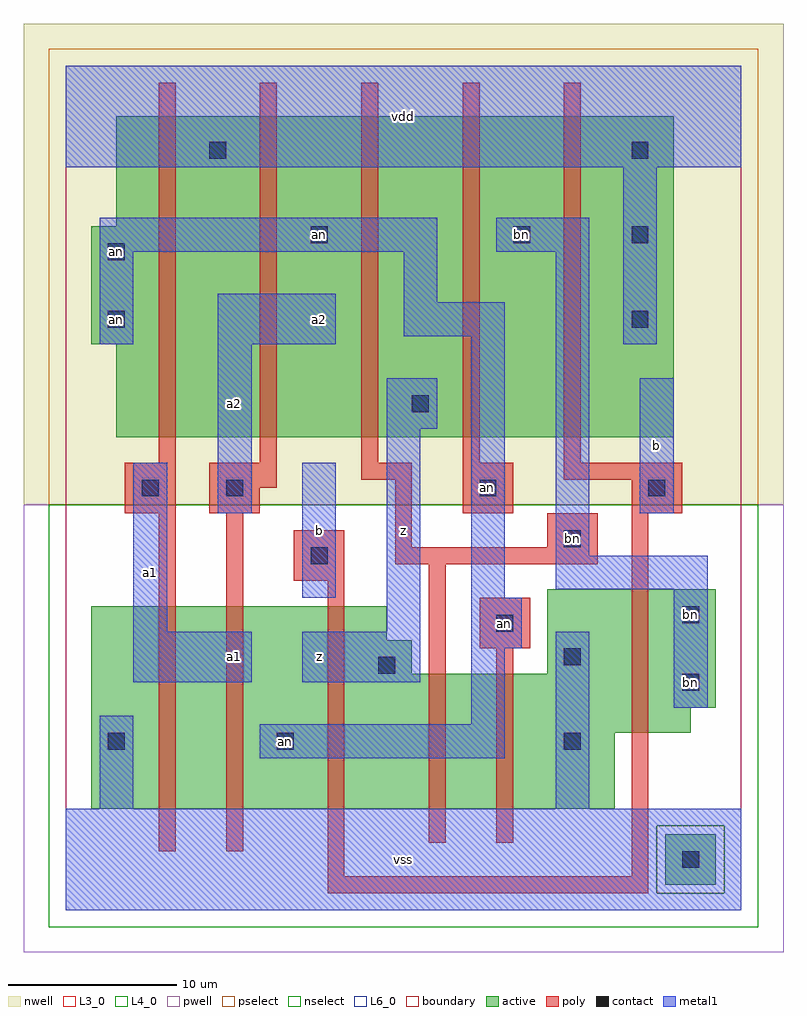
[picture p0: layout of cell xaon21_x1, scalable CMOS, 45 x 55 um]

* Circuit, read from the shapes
.subckt xaon21_x1 a1 a2 an b bn vdd vss z
M1 n1 a1 vss vss nfet w=12u l=1u
M2 an a2 n1 vss nfet w=12u l=1u
M3 z b an vss nfet w=12u l=1u
M4 n2 bn z vss nfet w=8u l=1u
M5 vss an n2 vss nfet w=8u l=1u
M6 bn b vss vss nfet w=8.5u l=1u
M7 vdd a1 an n3 pfet w=19u l=1u
M8 an a2 vdd n3 pfet w=19u l=1u
M9 z bn an n3 pfet w=19u l=1u
M10 bn an z n3 pfet w=19u l=1u
M11 vdd b bn n3 pfet w=19u l=1u
.ends

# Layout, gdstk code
import gdstk
lib = gdstk.Library(unit=1e-6, precision=1e-09)
def R(c, l, rs):  # rectangles x0, y0, x1, y1
    for r in rs: c.add(gdstk.rectangle(r[:2], r[2:], *l))
def A(c, l, x, y, w, h, nx, ny, dx, dy):  # array of equal rectangles
    R(c, l, [(x+i*dx, y+j*dy, x+i*dx+w, y+j*dy+h) for i in range(nx) for j in range(ny)])
L3_0 = (3, 0)
L4_0 = (4, 0)
L6_0 = (6, 0)
contact = (25, 0)
pwell = (41, 0)
nwell = (42, 0)
active = (43, 0)
pselect = (44, 0)
nselect = (45, 0)
poly = (46, 0)
metal1 = (49, 0)
boundary = (63, 0)

xaon21_x1 = lib.new_cell('xaon21_x1')
R(xaon21_x1, L3_0, [(1.5,6,32.5,10.5), (1.5,10.5,37,12), (1.5,12,38.5,14), (1.5,14,20.5,16), (28.5,14,38.5,19), (1.5,16,19,18)])
R(xaon21_x1, L4_0, [(3,28,36,33.5), (1.5,33.5,36,40.5), (3,40.5,36,47)])
R(xaon21_x1, L6_0, [(35.5,1.5,38.5,4.5)])
A(xaon21_x1, contact, 33.5, 34.5, 1, 1, 1, 3, 0, 5)
R(xaon21_x1, contact, [(36.5,2.5,37.5,3.5), (2.5,9.5,3.5,10.5), (12.5,9.5,13.5,10.5), (29.5,9.5,30.5,10.5), (36.5,13,37.5,14), (18.5,14,19.5,15), (29.5,14.5,30.5,15.5), (25.5,16.5,26.5,17.5), (36.5,17,37.5,18), (14.5,20.5,15.5,21.5), (29.5,21.5,30.5,22.5), (4.5,24.5,5.5,25.5), (9.5,24.5,10.5,25.5), (24.5,24.5,25.5,25.5), (34.5,24.5,35.5,25.5), (20.5,29.5,21.5,30.5), (2.5,34.5,3.5,35.5), (2.5,38.5,3.5,39.5), (14.5,39.5,15.5,40.5), (26.5,39.5,27.5,40.5), (8.5,44.5,9.5,45.5)])
R(xaon21_x1, pwell, [(-2.5,-2.5,42.5,24)])
R(xaon21_x1, nwell, [(-2.5,24,42.5,52.5)])
R(xaon21_x1, active, [(35.5,1.5,38.5,4.5), (1.5,6,32.5,10.5), (1.5,10.5,37,12), (1.5,12,38.5,14), (1.5,14,20.5,16), (28.5,14,38.5,19), (1.5,16,19,18), (3,28,36,33.5), (1.5,33.5,36,40.5), (3,40.5,36,47)])
R(xaon21_x1, pselect, [(35,1,39,5), (-1,24,41,51)])
R(xaon21_x1, nselect, [(-1,-1,41,1), (-1,1,35,5), (39,1,41,5), (-1,5,41,24)])
A(xaon21_x1, poly, 5.5, 26.5, 1, 22.5, 5, 1, 6, 0)
R(xaon21_x1, poly, [(15.5,1,34.5,2), (15.5,2,16.5,19.5), (33.5,2,34.5,23.5), (5.5,3.5,6.5,23.5), (9.5,3.5,10.5,23.5), (21.5,4,22.5,20.5), (25.5,4,26.5,15.5), (24.5,15.5,27.5,18.5), (13.5,19.5,16.5,22.5), (19.5,20.5,31.5,21.5), (19.5,21.5,20.5,25.5), (28.5,21.5,31.5,23.5), (3.5,23.5,6.5,26.5), (8.5,23.5,11.5,25), (23.5,23.5,26.5,26.5), (33.5,23.5,36.5,25.5), (8.5,25,12.5,26.5), (17.5,25.5,20.5,26.5), (29.5,25.5,36.5,26.5)])
R(xaon21_x1, metal1, [(0,0,40,6), (0,0,40,6), (2,6,4,11.5), (2,6,4,11.5), (29,6,31,16.5), (29,6,31,16.5), (11.5,9,26,11), (11.5,9,26,11), (24,11,26,15.5), (24,11,26,15.5), (36,12,38,19), (36,12,38,19), (4,13.5,11,16.5), (4,13.5,11,16.5), (14,13.5,21,16.5), (14,13.5,21,16.5), (24,15.5,27,18.5), (24,15.5,27,18.5), (4,16.5,6,26.5), (4,16.5,6,26.5), (19,16.5,21,28.5), (19,16.5,21,28.5), (14,18.5,16,26.5), (14,18.5,16,26.5), (24,18.5,26,34), (24,18.5,26,34), (29,19,38,21), (29,19,38,21), (29,21,31,39), (29,21,31,39), (9,23.5,11,33.5), (9,23.5,11,33.5), (34,23.5,36,31.5), (34,23.5,36,31.5), (19,28.5,22,31.5), (19,28.5,22,31.5), (2,33.5,4,39), (2,33.5,4,39), (9,33.5,16,36.5), (9,33.5,16,36.5), (33,33.5,35,44), (33,33.5,35,44), (20,34,26,36), (20,34,26,36), (20,36,22,39), (20,36,22,39), (2,39,22,41), (2,39,22,41), (25.5,39,31,41), (25.5,39,31,41), (0,44,40,50), (0,44,40,50)])
R(xaon21_x1, boundary, [(0,0,40,50)])
xaon21_x1.add(gdstk.Label('an', (3,35), layer=49, texttype=0))
xaon21_x1.add(gdstk.Label('an', (3,39), layer=49, texttype=0))
xaon21_x1.add(gdstk.Label('an', (13,10), layer=49, texttype=0))
xaon21_x1.add(gdstk.Label('an', (15,40), layer=49, texttype=0))
xaon21_x1.add(gdstk.Label('an', (26,17), layer=49, texttype=0))
xaon21_x1.add(gdstk.Label('an', (25,25), layer=49, texttype=0))
xaon21_x1.add(gdstk.Label('bn', (27,40), layer=49, texttype=0))
xaon21_x1.add(gdstk.Label('bn', (37,13.5), layer=49, texttype=0))
xaon21_x1.add(gdstk.Label('bn', (30,22), layer=49, texttype=0))
xaon21_x1.add(gdstk.Label('bn', (37,17.5), layer=49, texttype=0))
xaon21_x1.add(gdstk.Label('a1', (5,20), layer=49, texttype=0))
xaon21_x1.add(gdstk.Label('a1', (10,15), layer=49, texttype=0))
xaon21_x1.add(gdstk.Label('b', (15,22.5), layer=49, texttype=0))
xaon21_x1.add(gdstk.Label('z', (15,15), layer=49, texttype=0))
xaon21_x1.add(gdstk.Label('a2', (10,30), layer=49, texttype=0))
xaon21_x1.add(gdstk.Label('a2', (15,35), layer=49, texttype=0))
xaon21_x1.add(gdstk.Label('vss', (20,3), layer=49, texttype=0))
xaon21_x1.add(gdstk.Label('z', (20,22.5), layer=49, texttype=0))
xaon21_x1.add(gdstk.Label('vdd', (20,47), layer=49, texttype=0))
xaon21_x1.add(gdstk.Label('b', (35,27.5), layer=49, texttype=0))

lib.write_gds('xaon21_x1.gds')
